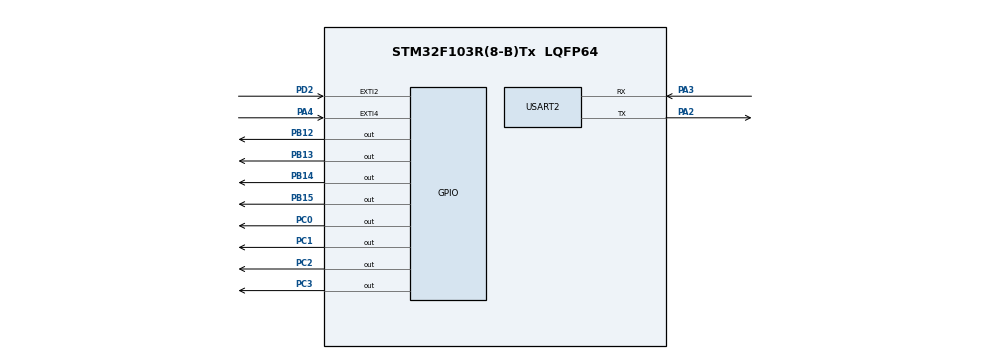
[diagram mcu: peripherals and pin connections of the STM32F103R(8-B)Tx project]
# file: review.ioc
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Mcu.Family=STM32F1
Mcu.Name=STM32F103R(8-B)Tx
Mcu.Package=LQFP64
NVIC.EXTI2_IRQn=true\:0\:0\:false\:false\:true\:true\:true\:true
NVIC.PriorityGroup=NVIC_PRIORITYGROUP_4
PA2.Mode=Asynchronous
PA2.Signal=USART2_TX
PA3.Mode=Asynchronous
PA3.Signal=USART2_RX
PA4.GPIO_ModeDefaultEXTI=GPIO_MODE_IT_FALLING
PA4.Signal=GPXTI4
PB12.Signal=GPIO_Output
PB13.Signal=GPIO_Output
PB14.Signal=GPIO_Output
PB15.Signal=GPIO_Output
PC0.Signal=GPIO_Output
PC1.Signal=GPIO_Output
PC14-OSC32_IN.Mode=LSE-External-Oscillator
PC14-OSC32_IN.Signal=RCC_OSC32_IN
PC15-OSC32_OUT.Mode=LSE-External-Oscillator
PC15-OSC32_OUT.Signal=RCC_OSC32_OUT
PC2.Signal=GPIO_Output
PC3.Signal=GPIO_Output
PD0-OSC_IN.Mode=HSE-External-Clock-Source
PD0-OSC_IN.Signal=RCC_OSC_IN
PD1-OSC_OUT.Mode=HSE-External-Clock-Source
PD1-OSC_OUT.Signal=RCC_OSC_OUT
PD2.GPIO_ModeDefaultEXTI=GPIO_MODE_IT_FALLING
PD2.Signal=GPXTI2
ProjectManager.HeapSize=0x200
ProjectManager.StackSize=0x400
ProjectManager.TargetToolchain=STM32CubeIDE
USART2.VirtualMode=VM_ASYNC
board=custom

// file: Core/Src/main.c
/* USER CODE BEGIN Header */
/**
  ******************************************************************************
  * @file           : main.c
  * @brief          : Main program body
  ******************************************************************************
  * @attention
  *
  * Copyright (c) 2023 STMicroelectronics.
  * All rights reserved.
  *
  * This software is licensed under terms that can be found in the LICENSE file
  * in the root directory of this software component.
  * If no LICENSE file comes with this software, it is provided AS-IS.
  *
  ******************************************************************************
  */
/* USER CODE END Header */
#include "main.h"

UART_HandleTypeDef huart2;

/* USER CODE BEGIN PV */
uint8_t RxBuffer[1];
/* USER CODE END PV */

void SystemClock_Config(void);
static void MX_GPIO_Init(void);
static void MX_USART2_UART_Init(void);

/* USER CODE BEGIN 0 */
int __io_putchar(int ch) {
   HAL_UART_Transmit(&huart2, (uint8_t *)&ch, 1, 0xFFFF);  // 0xFFFF?�� 최�? ??�? ?���?
   if (ch == '\n') {
      HAL_UART_Transmit(&huart2, (uint8_t *)"\r", 1, 0xFFFF);
	   }
   return ch;
}

/* USER CODE END 0 */

int main(void)
{

  /* MCU Configuration--------------------------------------------------------*/

  /* Reset of all peripherals, Initializes the Flash interface and the Systick. */
  HAL_Init();

  /* Configure the system clock */
  SystemClock_Config();

  /* Initialize all configured peripherals */
  MX_GPIO_Init();
  MX_USART2_UART_Init();
  /* USER CODE BEGIN 2 */
	HAL_UART_Receive_IT(&huart2, RxBuffer, 1);
  /* USER CODE END 2 */

  /* Infinite loop */
  while (1)
  {

  }
}

void SystemClock_Config(void)
{
  RCC_OscInitTypeDef RCC_OscInitStruct = {0};
  RCC_ClkInitTypeDef RCC_ClkInitStruct = {0};

  /** Initializes the RCC Oscillators according to the specified parameters
  * in the RCC_OscInitTypeDef structure.
  */
  RCC_OscInitStruct.OscillatorType = RCC_OSCILLATORTYPE_HSI;
  RCC_OscInitStruct.HSIState = RCC_HSI_ON;
  RCC_OscInitStruct.HSICalibrationValue = RCC_HSICALIBRATION_DEFAULT;
  RCC_OscInitStruct.PLL.PLLState = RCC_PLL_NONE;
  if (HAL_RCC_OscConfig(&RCC_OscInitStruct) != HAL_OK)
  {
    Error_Handler();
  }

  /** Initializes the CPU, AHB and APB buses clocks
  */
  RCC_ClkInitStruct.ClockType = RCC_CLOCKTYPE_HCLK|RCC_CLOCKTYPE_SYSCLK
                              |RCC_CLOCKTYPE_PCLK1|RCC_CLOCKTYPE_PCLK2;
  RCC_ClkInitStruct.SYSCLKSource = RCC_SYSCLKSOURCE_HSI;
  RCC_ClkInitStruct.AHBCLKDivider = RCC_SYSCLK_DIV1;
  RCC_ClkInitStruct.APB1CLKDivider = RCC_HCLK_DIV1;
  RCC_ClkInitStruct.APB2CLKDivider = RCC_HCLK_DIV1;

  if (HAL_RCC_ClockConfig(&RCC_ClkInitStruct, FLASH_LATENCY_0) != HAL_OK)
  {
    Error_Handler();
  }
}

static void MX_USART2_UART_Init(void)
{

  huart2.Instance = USART2;
  huart2.Init.BaudRate = 115200;
  huart2.Init.WordLength = UART_WORDLENGTH_8B;
  huart2.Init.StopBits = UART_STOPBITS_1;
  huart2.Init.Parity = UART_PARITY_NONE;
  huart2.Init.Mode = UART_MODE_TX_RX;
  huart2.Init.HwFlowCtl = UART_HWCONTROL_NONE;
  huart2.Init.OverSampling = UART_OVERSAMPLING_16;
  if (HAL_UART_Init(&huart2) != HAL_OK)
  {
    Error_Handler();
  }

}

static void MX_GPIO_Init(void)
{
  GPIO_InitTypeDef GPIO_InitStruct = {0};

  /* GPIO Ports Clock Enable */
  __HAL_RCC_GPIOC_CLK_ENABLE();
  __HAL_RCC_GPIOD_CLK_ENABLE();
  __HAL_RCC_GPIOA_CLK_ENABLE();
  __HAL_RCC_GPIOB_CLK_ENABLE();

  /*Configure GPIO pin Output Level */
  HAL_GPIO_WritePin(GPIOC, GPIO_PIN_0|GPIO_PIN_1|GPIO_PIN_2|GPIO_PIN_3, GPIO_PIN_RESET);

  /*Configure GPIO pin Output Level */
  HAL_GPIO_WritePin(GPIOB, GPIO_PIN_12|GPIO_PIN_13|GPIO_PIN_14|GPIO_PIN_15, GPIO_PIN_RESET);

  /*Configure GPIO pins : PC0 PC1 PC2 PC3 */
  GPIO_InitStruct.Pin = GPIO_PIN_0|GPIO_PIN_1|GPIO_PIN_2|GPIO_PIN_3;
  GPIO_InitStruct.Mode = GPIO_MODE_OUTPUT_PP;
  GPIO_InitStruct.Pull = GPIO_NOPULL;
  GPIO_InitStruct.Speed = GPIO_SPEED_FREQ_LOW;
  HAL_GPIO_Init(GPIOC, &GPIO_InitStruct);

  /*Configure GPIO pin : PA4 */
  GPIO_InitStruct.Pin = GPIO_PIN_4;
  GPIO_InitStruct.Mode = GPIO_MODE_IT_FALLING;
  GPIO_InitStruct.Pull = GPIO_NOPULL;
  HAL_GPIO_Init(GPIOA, &GPIO_InitStruct);

  /*Configure GPIO pins : PB12 PB13 PB14 PB15 */
  GPIO_InitStruct.Pin = GPIO_PIN_12|GPIO_PIN_13|GPIO_PIN_14|GPIO_PIN_15;
  GPIO_InitStruct.Mode = GPIO_MODE_OUTPUT_PP;
  GPIO_InitStruct.Pull = GPIO_NOPULL;
  GPIO_InitStruct.Speed = GPIO_SPEED_FREQ_LOW;
  HAL_GPIO_Init(GPIOB, &GPIO_InitStruct);

  /*Configure GPIO pin : PD2 */
  GPIO_InitStruct.Pin = GPIO_PIN_2;
  GPIO_InitStruct.Mode = GPIO_MODE_IT_FALLING;
  GPIO_InitStruct.Pull = GPIO_NOPULL;
  HAL_GPIO_Init(GPIOD, &GPIO_InitStruct);

  /* EXTI interrupt init*/
  HAL_NVIC_SetPriority(EXTI2_IRQn, 0, 0);
  HAL_NVIC_EnableIRQ(EXTI2_IRQn);

}

/* USER CODE BEGIN 4 */
void HAL_UART_RxCpltCallback(UART_HandleTypeDef *huart) {
	switch (RxBuffer[0]) {
	    case '1':
	      printf("long time no see\n");
	      break;
	    case '2':
	      printf("오랜만입니다\n");
	      break;
	    default:
	      printf("1 or 2만 입력해주세요\n");
	}
	HAL_UART_Receive_IT(&huart2, RxBuffer, 1);
}
/* USER CODE END 4 */

void Error_Handler(void)
{
  __disable_irq();
  while (1)
  {
  }
}
